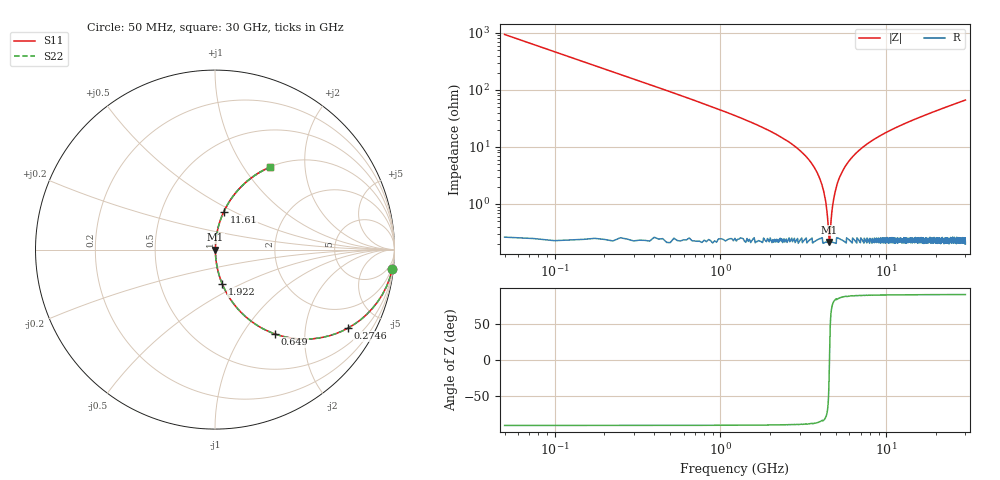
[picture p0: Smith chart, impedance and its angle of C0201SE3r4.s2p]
!	AVX Thin Film Operation 	Date: April 2014
!	Description: Accu-P® Series, Thin Film  SMD RF Capacitor
!	Part Number: 02013J3R4ABSTR
# MHZ S MA R 50
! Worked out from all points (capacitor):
!   1201 points, 50 MHz to 30 GHz, reference 50 ohm
!   read as one part in series: C = 3.4 pF near 199.8 MHz
!   lowest |Z| = 216 mohm at 4.543 GHz (marker M1)
!   series resonance near 4.544 GHz, so ESL is about 360 pH
!   S11 on the Smith chart (normalised r, x): 50 MHz: 1, -19; 274.6 MHz: 1.01, -3.40; 649 MHz: 1.00, -1.41; 1.922 GHz: 1.00, -0.40; 11.61 GHz: 1.00, +0.45; 30 GHz: 1.00, +1.33
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50  0.994 -6.1  0.106 83.9  0.106 83.9  0.994 -6.1
274.625  0.861 -30.5  0.507 59.5  0.507 59.5  0.861 -30.5
424.375  0.737 -42.4  0.674 47.5  0.674 47.5  0.737 -42.4
649  0.576 -54.6  0.815 35.2  0.815 35.2  0.576 -54.6
1123.208  0.364 -68.3  0.929 21.3  0.929 21.3  0.364 -68.3
1921.875  0.196 -78.1  0.978 11.3  0.978 11.3  0.196 -78.1
3094.917  0.081 -83.7  0.994 4.6  0.994 4.6  0.081 -83.7
3768.792  0.039 -84.4  0.997 2.2  0.997 2.2  0.039 -84.4
4168.125  0.018 -81.6  0.998 1.0  0.998 1.0  0.018 -81.6
4442.667  0.005181 -63.3  0.998 0.3  0.998 0.3  0.005181 -63.3
4542.5  0.002306 -1.8  0.998 0.0  0.998 0.0  0.002306 -1.8
4642.333  0.004964 62.1  0.998 -0.3  0.998 -0.3  0.004964 62.1
4817.042  0.012 78.4  0.998 -0.7  0.998 -0.7  0.012 78.4
5041.667  0.022 82.6  0.997 -1.2  0.997 -1.2  0.022 82.6
5640.667  0.045 84.5  0.997 -2.6  0.997 -2.6  0.045 84.5
6614.042  0.079 83.8  0.995 -4.5  0.995 -4.5  0.079 83.8
10058.29  0.178 79.0  0.982 -10.3  0.982 -10.3  0.178 79.0
11605.71  0.217 76.9  0.974 -12.5  0.974 -12.5  0.217 76.9
15025  0.295 72.4  0.953 -17.2  0.953 -17.2  0.295 72.4
20016.67  0.395 66.5  0.917 -23.2  0.917 -23.2  0.395 66.5
25033.29  0.48 61.1  0.875 -28.7  0.875 -28.7  0.48 61.1
30000  0.553 56.3  0.832 -33.5  0.832 -33.5  0.553 56.3
